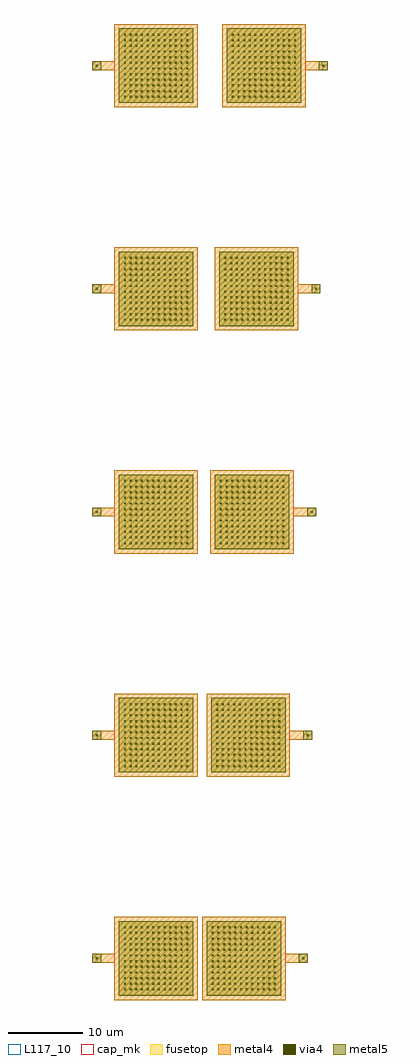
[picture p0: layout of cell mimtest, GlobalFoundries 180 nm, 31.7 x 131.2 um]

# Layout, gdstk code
import gdstk
lib = gdstk.Library(unit=1e-6, precision=1e-09)
def R(c, l, rs):  # rectangles x0, y0, x1, y1
    for r in rs: c.add(gdstk.rectangle(r[:2], r[2:], *l))
def A(c, l, x, y, w, h, nx, ny, dx, dy):  # array of equal rectangles
    R(c, l, [(x+i*dx, y+j*dy, x+i*dx+w, y+j*dy+h) for i in range(nx) for j in range(ny)])
via4 = (41, 0)
metal4 = (46, 0)
fusetop = (75, 0)
metal5 = (81, 0)
cap_mk = (117, 5)
L117_10 = (117, 10)

cap_mim = lib.new_cell('cap_mim')
A(cap_mim, via4, 0.69, 0.69, 0.26, 0.26, 12, 12, 0.76, 0.76)
R(cap_mim, metal4, [(-0.6,-0.6,10.6,10.6)])
R(cap_mim, fusetop, [(0,0,10,10)])
R(cap_mim, metal5, [(0,0,10,10)])
R(cap_mim, cap_mk, [(-0.6,-0.6,10.6,10.6)])
R(cap_mim, L117_10, [(0,0,10,0.1)])

mimsp_18 = lib.new_cell('mimsp_18')
R(mimsp_18, via4, [(-3.13,4.87,-2.87,5.13), (24.67,4.87,24.93,5.13)])
R(mimsp_18, metal4, [(-3.6,4.4,-0.6,5.6), (22.4,4.4,25.4,5.6)])
R(mimsp_18, metal5, [(-3.6,4.4,-2.4,5.6), (24.2,4.4,25.4,5.6)])
mimsp_18.add(gdstk.Reference(cap_mim, (0,0)))
mimsp_18.add(gdstk.Reference(cap_mim, (11.8,0)))

mimsp_24 = lib.new_cell('mimsp_24')
R(mimsp_24, via4, [(-3.13,4.87,-2.87,5.13), (25.27,4.87,25.53,5.13)])
R(mimsp_24, metal4, [(-3.6,4.4,-0.6,5.6), (23,4.4,26,5.6)])
R(mimsp_24, metal5, [(-3.6,4.4,-2.4,5.6), (24.8,4.4,26,5.6)])
mimsp_24.add(gdstk.Reference(cap_mim, (0,0)))
mimsp_24.add(gdstk.Reference(cap_mim, (12.4,0)))

mimsp_29 = lib.new_cell('mimsp_29')
R(mimsp_29, via4, [(-3.13,4.87,-2.87,5.13), (25.77,4.87,26.03,5.13)])
R(mimsp_29, metal4, [(-3.6,4.4,-0.6,5.6), (23.5,4.4,26.5,5.6)])
R(mimsp_29, metal5, [(-3.6,4.4,-2.4,5.6), (25.3,4.4,26.5,5.6)])
mimsp_29.add(gdstk.Reference(cap_mim, (0,0)))
mimsp_29.add(gdstk.Reference(cap_mim, (12.9,0)))

mimsp_35 = lib.new_cell('mimsp_35')
R(mimsp_35, via4, [(-3.13,4.87,-2.87,5.13), (26.37,4.87,26.63,5.13)])
R(mimsp_35, metal4, [(-3.6,4.4,-0.6,5.6), (24.1,4.4,27.1,5.6)])
R(mimsp_35, metal5, [(-3.6,4.4,-2.4,5.6), (25.9,4.4,27.1,5.6)])
mimsp_35.add(gdstk.Reference(cap_mim, (0,0)))
mimsp_35.add(gdstk.Reference(cap_mim, (13.5,0)))

mimsp_45 = lib.new_cell('mimsp_45')
R(mimsp_45, via4, [(-3.13,4.87,-2.87,5.13), (27.37,4.87,27.63,5.13)])
R(mimsp_45, metal4, [(-3.6,4.4,-0.6,5.6), (25.1,4.4,28.1,5.6)])
R(mimsp_45, metal5, [(-3.6,4.4,-2.4,5.6), (26.9,4.4,28.1,5.6)])
mimsp_45.add(gdstk.Reference(cap_mim, (0,0)))
mimsp_45.add(gdstk.Reference(cap_mim, (14.5,0)))

mimtest = lib.new_cell('mimtest')
mimtest.add(gdstk.Reference(mimsp_18, (0,0)))
mimtest.add(gdstk.Reference(mimsp_24, (0,30)))
mimtest.add(gdstk.Reference(mimsp_29, (0,60)))
mimtest.add(gdstk.Reference(mimsp_35, (0,90)))
mimtest.add(gdstk.Reference(mimsp_45, (0,120)))

lib.write_gds('mimtest.gds')
